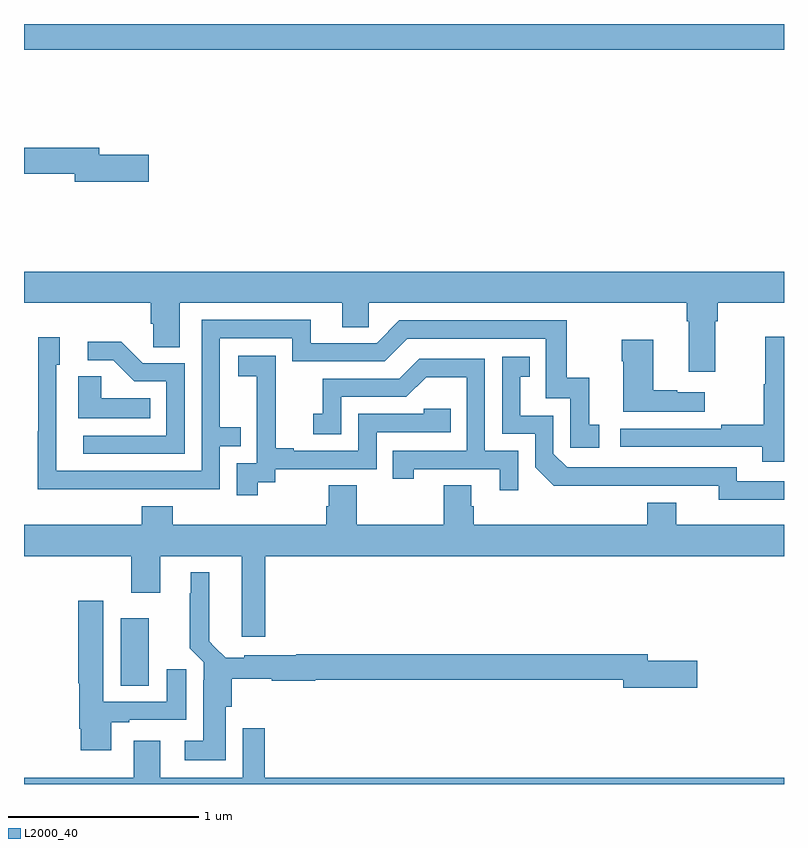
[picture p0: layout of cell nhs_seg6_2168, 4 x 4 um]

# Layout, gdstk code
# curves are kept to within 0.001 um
import gdstk
lib = gdstk.Library(unit=1e-6, precision=1e-09)
def R(c, l, rs):  # rectangles x0, y0, x1, y1
    for r in rs: c.add(gdstk.rectangle(r[:2], r[2:], *l))
def P(c, l, *ps):  # polygons
    for p in ps: c.add(gdstk.Polygon(p, *l))
L2000_40 = (2000, 40)

nhs_seg6_2168 = lib.new_cell('nhs_seg6_2168')
R(nhs_seg6_2168, L2000_40, [(241.508,916.018,241.657,916.372), (241,919.364,245,919.5)])
P(nhs_seg6_2168, L2000_40, [(241.657,918.812),(241.396,918.812),(241.396,918.848),(241,918.848),(241,918.712),(241.268,918.712),(241.268,918.67),(241.657,918.67)],
  [(244.639,917.936),(244.652,917.936),(244.652,918.032),(245,918.032),(245,918.196),(241,918.196),(241,918.032),(241.667,918.032),(241.667,917.923),(241.68,917.923),(241.68,917.8),(241.819,917.8),(241.819,918.032),(242.675,918.032),(242.675,917.905),(242.814,917.905),(242.814,918.032),(244.487,918.032),(244.487,917.936),(244.499,917.936),(244.499,917.67),(244.639,917.67)],
  [(241.535,917.052),(242.031,917.052),(242.031,917.277),(242.141,917.277),(242.141,917.378),(242.031,917.378),(242.031,917.847),(242.412,917.847),(242.412,917.724),(242.898,917.724),(243.018,917.844),(243.747,917.844),(243.747,917.529),(243.876,917.529),(243.876,917.271),(244.027,917.271),(244.027,917.391),(243.974,917.391),(243.974,917.638),(243.856,917.638),(243.856,917.94),(242.976,917.94),(242.856,917.82),(242.509,917.82),(242.509,917.943),(241.935,917.943),(241.935,917.148),(241.17,917.148),(241.17,917.706),(241.189,917.706),(241.189,917.851),(241.074,917.851),(241.074,917.357),(241.072,917.357),(241.072,917.051)],
  [(245,917.854),(244.9,917.854),(244.9,917.604),(244.893,917.604),(244.893,917.39),(244.669,917.39),(244.669,917.37),(244.137,917.37),(244.137,917.274),(244.885,917.274),(244.885,917.196),(245,917.196)],
  [(244.582,917.563),(244.439,917.563),(244.439,917.573),(244.312,917.573),(244.312,917.839),(244.147,917.839),(244.147,917.726),(244.154,917.726),(244.154,917.459),(244.582,917.459)],
  [(241.845,917.715),(241.626,917.715),(241.513,917.828),(241.335,917.828),(241.335,917.73),(241.469,917.73),(241.58,917.619),(241.749,917.619),(241.749,917.334),(241.311,917.334),(241.311,917.238),(241.845,917.238)],
  [(242.23,917.089),(242.322,917.089),(242.322,917.157),(242.856,917.157),(242.856,917.352),(243.245,917.352),(243.245,917.475),(243.105,917.475),(243.105,917.448),(242.76,917.448),(242.76,917.253),(242.419,917.253),(242.419,917.266),(242.324,917.266),(242.324,917.549),(242.325,917.549),(242.325,917.755),(242.127,917.755),(242.127,917.645),(242.225,917.645),(242.225,917.417),(242.226,917.417),(242.226,917.187),(242.121,917.187),(242.121,917.019),(242.23,917.019)],
  [(245,917.094),(244.752,917.094),(244.752,917.166),(243.858,917.166),(243.786,917.238),(243.786,917.439),(243.613,917.439),(243.613,917.643),(243.662,917.643),(243.662,917.749),(243.516,917.749),(243.516,917.343),(243.69,917.343),(243.69,917.166),(243.788,917.069),(244.656,917.07),(244.656,916.997),(245,916.997)],
  [(243.6,917.253),(243.426,917.253),(243.426,917.739),(243.08,917.739),(242.975,917.634),(242.572,917.634),(242.572,917.449),(242.523,917.449),(242.523,917.34),(242.67,917.34),(242.67,917.538),(243.012,917.538),(243.116,917.642),(243.33,917.642),(243.33,917.253),(242.941,917.253),(242.941,917.106),(243.052,917.106),(243.052,917.157),(243.503,917.157),(243.503,917.046),(243.6,917.046)],
  [(241.664,917.53),(241.407,917.53),(241.407,917.645),(241.286,917.645),(241.286,917.426),(241.664,917.426)],
  [(242.27,916.7),(245,916.7),(245,916.864),(244.432,916.864),(244.432,916.981),(244.28,916.981),(244.28,916.864),(243.368,916.864),(243.368,916.962),(243.355,916.962),(243.355,917.072),(243.208,917.072),(243.208,916.864),(242.751,916.864),(242.751,917.072),(242.603,917.072),(242.603,916.962),(242.591,916.962),(242.591,916.864),(241.784,916.864),(241.784,916.963),(241.619,916.963),(241.619,916.864),(241,916.864),(241,916.7),(241.565,916.7),(241.565,916.506),(241.717,916.506),(241.717,916.7),(242.147,916.7),(242.147,916.275),(242.27,916.275)],
  [(242.062,915.906),(242.093,915.906),(242.093,916.055),(242.304,916.055),(242.304,916.043),(242.532,916.043),(242.532,916.048),(244.154,916.048),(244.154,916.006),(244.543,916.006),(244.543,916.148),(244.282,916.148),(244.282,916.184),(242.432,916.184),(242.432,916.177),(242.16,916.177),(242.16,916.165),(242.061,916.165),(241.975,916.252),(241.975,916.615),(241.877,916.615),(241.877,916.505),(241.873,916.505),(241.873,916.214),(241.947,916.14),(241.947,916.046),(241.943,916.046),(241.943,915.727),(241.845,915.727),(241.845,915.626),(242.062,915.626)],
  [(241.459,915.825),(241.555,915.825),(241.555,915.837),(241.855,915.837),(241.855,916.105),(241.751,916.105),(241.751,915.933),(241.417,915.933),(241.417,916.465),(241.286,916.465),(241.286,916.03),(241.291,916.03),(241.291,915.79),(241.298,915.79),(241.298,915.678),(241.459,915.678)],
  [(245,915.532),(242.267,915.532),(242.267,915.793),(242.151,915.793),(242.151,915.532),(241.717,915.532),(241.717,915.727),(241.577,915.727),(241.577,915.532),(241,915.532),(241,915.5),(245,915.5)])

lib.write_gds('nhs_seg6_2168.gds')
